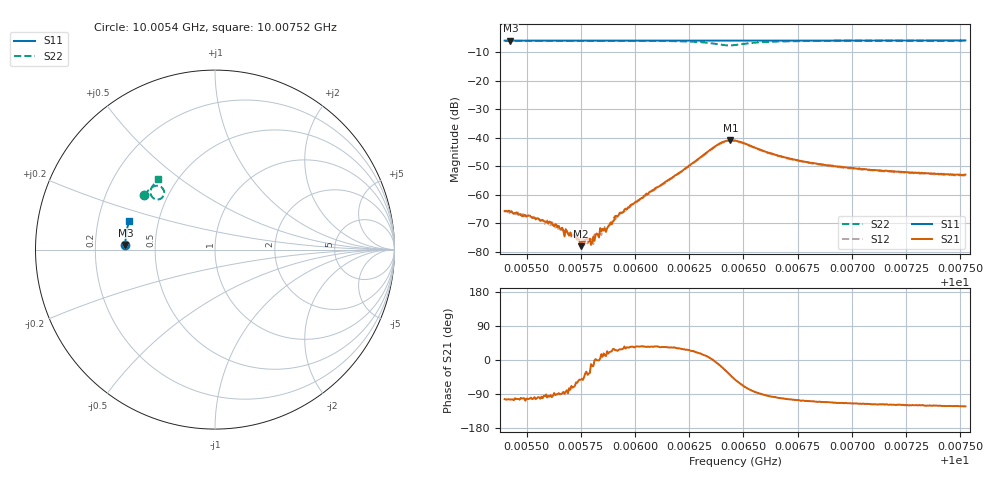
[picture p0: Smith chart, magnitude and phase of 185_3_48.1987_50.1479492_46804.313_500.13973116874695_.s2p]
#  HZ  S  RI  R  50.00
! Rohde & Schwarz Vector Network Analyzer
! Rohde-Schwarz,ZNB20-2Port,1311601062101988,3.16
! Created: UTC 3/20/2024, 11:44:18 AM
! freq[Hz]  re:S11  im:S11  re:S21  im:S21  re:S12  im:S12  re:S22  im:S22
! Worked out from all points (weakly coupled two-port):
!   401 points, 10.0054 GHz to 10.00752 GHz, reference 50 ohm
!   highest |S21| = -40.85 dB at 10.00644 GHz (marker M1); lowest = -78.0 dB at 10.00575 GHz (marker M2)
!   lowest |S11| = -6.0 dB at 10.00543 GHz (marker M3), VSWR 3.00, Z = 16.7 + j1.12 ohm
!   |S11| at or under -10 dB: nowhere
!   |S22| runs from -7.7 to -6.0 dB; largest |S21 - S12| = 0.00052
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1.0005399e10  -0.4998 0.0235  -0.000119 -0.000506  -0.000109 -0.000507  -0.394 0.3016
1.0005425e10  -0.4996 0.0253  -0.000124 -0.000487  -8.23e-05 -0.000464  -0.3929 0.3031
1.0005516e10  -0.4996 0.0309  -8.51e-05 -0.000423  -7.47e-05 -0.000411  -0.3891 0.3085
1.0005606e10  -0.4995 0.037  -4.13e-05 -0.000339  -3.83e-06 -0.000308  -0.3849 0.3139
1.0005686e10  -0.4991 0.0422  4.07e-05 -0.000226  4.07e-05 -0.00023  -0.3811 0.3188
1.0005712e10  -0.499 0.0439  5.76e-05 -0.000187  5.84e-05 -0.000205  -0.3798 0.3205
1.0005749e10  -0.4989 0.0464  7.71e-05 -0.0001  0.000104 -0.000135  -0.3779 0.3227
1.0005755e10  -0.4991 0.0467  9.76e-05 -0.000118  0.000113 -0.000129  -0.3776 0.3232
1.0005776e10  -0.4988 0.0481  0.000143 -8.51e-05  0.000121 -0.000105  -0.3764 0.3245
1.0005802e10  -0.4987 0.0497  0.000141 -4.08e-05  0.000164 -3.48e-05  -0.3748 0.3262
1.0005834e10  -0.4987 0.0518  0.00018 -2.99e-06  0.000201 7.08e-06  -0.3731 0.3281
1.000585e10  -0.4985 0.053  0.000251 3.71e-05  0.000246 4.91e-05  -0.3722 0.3292
1.0005871e10  -0.4985 0.0542  0.000239 0.000102  0.000261 0.000112  -0.3708 0.3306
1.0005914e10  -0.4982 0.057  0.000386 0.000187  0.000352 0.000188  -0.3681 0.3334
1.000611e10  -0.4969 0.0699  0.00116 0.000797  0.00111 0.000872  -0.3511 0.3474
1.0006376e10  -0.494 0.0867  0.00727 -0.000873  0.00715 -0.000507  -0.2855 0.3302
1.000644e10  -0.4935 0.0904  0.00693 -0.00586  0.00701 -0.0054  -0.2977 0.287
1.0006461e10  -0.4932 0.0915  0.00555 -0.00701  0.00576 -0.00654  -0.3122 0.28
1.0006647e10  -0.492 0.1035  -0.000697 -0.00498  -0.000527 -0.00491  -0.3595 0.3223
1.0006817e10  -0.49 0.1144  -0.00118 -0.00344  -0.000993 -0.00338  -0.3525 0.3459
1.0007173e10  -0.485 0.1368  -0.00123 -0.0023  -0.00106 -0.00231  -0.3336 0.372
1.0007523e10  -0.4791 0.1587  -0.00121 -0.00191  -0.00107 -0.00189  -0.3154 0.3906
